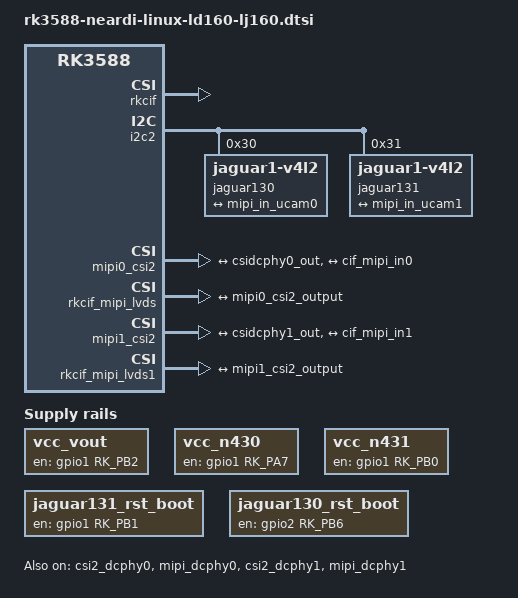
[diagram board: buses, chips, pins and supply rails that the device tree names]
// SPDX-License-Identifier: (GPL-2.0+ OR MIT)
/*
 * Copyright (c) 2022 Rockchip Electronics Co., Ltd.
 *
 */
 /{

	vcc_vout: vcc-vout-regulator {
		 status="okay";
		compatible = "regulator-fixed";
		gpio = <&gpio1 RK_PB2 GPIO_ACTIVE_HIGH>;
		pinctrl-names = "default";
		pinctrl-0 = <&vout_pwr>;
		regulator-name = "vcc_vout";
		enable-active-high;
		regulator-always-on;
		regulator-boot-on;
	};

	vcc_n430: vcc-n430-regulator {
		 status="okay";
		compatible = "regulator-fixed";
		gpio = <&gpio1 RK_PA7 GPIO_ACTIVE_HIGH>;
		pinctrl-names = "default";
		pinctrl-0 = <&n430_pwr>;
		regulator-name = "vcc_n430";
		enable-active-high;
		regulator-always-on;
		regulator-boot-on;
	};

	vcc_n431: vcc-n431-regulator {
	   status="okay";
		compatible = "regulator-fixed";
		gpio = <&gpio1 RK_PB0 GPIO_ACTIVE_HIGH>;
		pinctrl-names = "default";
		pinctrl-0 = <&n431_pwr>;
		regulator-name = "vcc_n431";
		enable-active-high;
		regulator-always-on;
		regulator-boot-on;
	};

	jaguar131_rst_boot: jaguar131-rst-boot {
                status="okay";
               compatible = "regulator-fixed";
               gpio = <&gpio1 RK_PB1 GPIO_ACTIVE_HIGH>;
               regulator-name = "boot_n431rst";
               enable-active-high;
               regulator-always-on;
               regulator-boot-on;
       };

	jaguar130_rst_boot: jaguar130-rst-boot {
                status="okay";
               compatible = "regulator-fixed";
               gpio = <&gpio2 RK_PB6 GPIO_ACTIVE_HIGH>;
               regulator-name = "boot_n430rst";
               enable-active-high;
               regulator-always-on;
               regulator-boot-on;
       };
 };

 /**********  dcphy0 && dcphy1  ************/

&rkcif {
	status = "okay";
};

&rkcif_mmu {
	status = "okay";
};



/**********   dcphy0  ************/

// N4_PWREN_A: EXTIO_P1_1 -> gpio502

 &i2c2 {
	status = "okay";
	i2c-scl-rising-time-ns = <600>;
	i2c-scl-falling-time-ns = <20>;

jaguar130: jaguar1@30 {
		compatible = "jaguar1-v4l2";
		status = "okay";
		reg = <0x30>;
		clocks = <&xin24m>;
		clock-names = "xvclk";
		/*
		 * pd-gpios = <&gpio4 21 GPIO_ACTIVE_HIGH>; // conflict with csi-ctl-gpios
		 * rst-gpios = <&gpio0 12 GPIO_ACTIVE_HIGH>;
		 */
		rockchip,default_rect= <1280 720>; // default resolution
		//rst-gpios = <&gpio2 RK_PB6 GPIO_ACTIVE_HIGH>;
		rockchip,camera-module-index = <0>;
		rockchip,camera-module-facing = "back";
		rockchip,camera-module-name = "jaguar130";
		rockchip,camera-module-lens-name = "jaguar130";
		port {
			ucam_out0: endpoint {
				remote-endpoint = <&mipi_in_ucam0>;
				data-lanes = <1 2 3 4>;
			};
		};
	};
};




&csi2_dcphy0 {
	status = "okay";

	ports {
		#address-cells = <1>;
		#size-cells = <0>;
		port@0 {
			reg = <0>;
			#address-cells = <1>;
			#size-cells = <0>;

			mipi_in_ucam0: endpoint@1 {
				reg = <1>;
				remote-endpoint = <&ucam_out0>;
				data-lanes = <1 2 3 4>;
			};
		};
		port@1 {
			reg = <1>;
			#address-cells = <1>;
			#size-cells = <0>;

			csidcphy0_out: endpoint@0 {
				reg = <0>;
				remote-endpoint = <&mipi0_csi2_input>;
			};
		};
	};
};


&mipi_dcphy0 {
	status = "okay";
	
};

&mipi0_csi2 {
	status = "okay";

	ports {
		#address-cells = <1>;
		#size-cells = <0>;

		port@0 {
			reg = <0>;
			#address-cells = <1>;
			#size-cells = <0>;

			mipi0_csi2_input: endpoint@1 {
				reg = <1>;
				remote-endpoint = <&csidcphy0_out>;
			};
		};

		port@1 {
			reg = <1>;
			#address-cells = <1>;
			#size-cells = <0>;

			mipi0_csi2_output: endpoint@0 {
				reg = <0>;
				remote-endpoint = <&cif_mipi_in0>;
			};
		};
	};
};

&rkcif_mipi_lvds {
	status = "okay";

	port {
		cif_mipi_in0: endpoint {
			remote-endpoint = <&mipi0_csi2_output>;
		};
	};
};

&rkisp0 {
	status = "disabled";
};

&isp0_mmu {
	status = "disabled";
};

&rkcif_mipi_lvds_sditf {
	status = "disabled";

	port {
		mipi_lvds_sditf: endpoint {
			remote-endpoint = <&isp0_vir0>;
		};
	};
};

&rkisp0_vir0 {
	status = "disabled";

	port {
		#address-cells = <1>;
		#size-cells = <0>;
		isp0_vir0: endpoint@0 {
			reg = <0>;
			remote-endpoint = <&mipi_lvds_sditf>;
		};
	};
};


/**********   dcphy1   ************/
// N4_PWREN_B: EXTIO_P1_2 -> gpio503

&i2c2 {
	status = "okay";
		jaguar131: jaguar1@31 {
				compatible = "jaguar1-v4l2";
				status = "okay";
				reg = <0x31>;
				clocks = <&xin24m>;
				clock-names = "xvclk";
				/*
				 * pd-gpios = <&gpio4 21 GPIO_ACTIVE_HIGH>; // conflict with csi-ctl-gpios
				 * rst-gpios = <&gpio0 12 GPIO_ACTIVE_HIGH>;
				 */
				rockchip,default_rect= <1280 720>; // default resolution
				//rst-gpios = <&gpio1 RK_PB1 GPIO_ACTIVE_HIGH>;
				rockchip,camera-module-index = <1>;
				rockchip,camera-module-facing = "front";
				rockchip,camera-module-name = "jaguar131";
				rockchip,camera-module-lens-name = "jaguar131";
				port {
					ucam_out1: endpoint {
						remote-endpoint = <&mipi_in_ucam1>;
						data-lanes = <1 2 3 4>;
					};
				};
			};
		};


&csi2_dcphy1 {
	status = "okay";

	ports {
		#address-cells = <1>;
		#size-cells = <0>;
		port@0 {
			reg = <0>;
			#address-cells = <1>;
			#size-cells = <0>;

			mipi_in_ucam1: endpoint@1 {
				reg = <1>;
				remote-endpoint = <&ucam_out1>;
				data-lanes = <1 2 3 4>;
			};
		};
		port@1 {
			reg = <1>;
			#address-cells = <1>;
			#size-cells = <0>;

			csidcphy1_out: endpoint@0 {
				reg = <0>;
				remote-endpoint = <&mipi1_csi2_input>;
			};
		};
	};
};


&mipi_dcphy1 {
	status = "okay";
};

&mipi1_csi2 {
	status = "okay";

	ports {
		#address-cells = <1>;
		#size-cells = <0>;

		port@0 {
			reg = <0>;
			#address-cells = <1>;
			#size-cells = <0>;

			mipi1_csi2_input: endpoint@1 {
				reg = <1>;
				remote-endpoint = <&csidcphy1_out>;
			};
		};

		port@1 {
			reg = <1>;
			#address-cells = <1>;
			#size-cells = <0>;

			mipi1_csi2_output: endpoint@0 {
				reg = <0>;
				remote-endpoint = <&cif_mipi_in1>;
			};
		};
	};
};

&rkcif_mipi_lvds1 {
	status = "okay";

	port {
		cif_mipi_in1: endpoint {
			remote-endpoint = <&mipi1_csi2_output>;
		};
	};
};

&rkcif_mipi_lvds1_sditf {
	status = "disabled";

	port {
		mipi1_lvds_sditf: endpoint {
			remote-endpoint = <&isp1_vir0>;
		};
	};
};

&rkisp1 {
	status = "disabled";
};

&isp1_mmu {
	status = "disabled";
};


&rkisp1_vir0 {
	status = "disabled";

	port {
		#address-cells = <1>;
		#size-cells = <0>;

		isp1_vir0: endpoint@0 {
			reg = <0>;
			remote-endpoint = <&mipi1_lvds_sditf>;
		};
	};
};

/**********    end!  ***********/
&pinctrl {
vout {
		vout_pwr: vout-pwr {
			rockchip,pins =
				<1 RK_PB2 RK_FUNC_GPIO &pcfg_output_high>;
		};
	};

n4 {
		n430_pwr: n430-pwr {
			rockchip,pins =
				<1 RK_PA7 RK_FUNC_GPIO &pcfg_output_high>;
		};

		n431_pwr: n431-pwr {
			rockchip,pins =
				<1 RK_PB0 RK_FUNC_GPIO &pcfg_output_high>;
		};
		};
};
